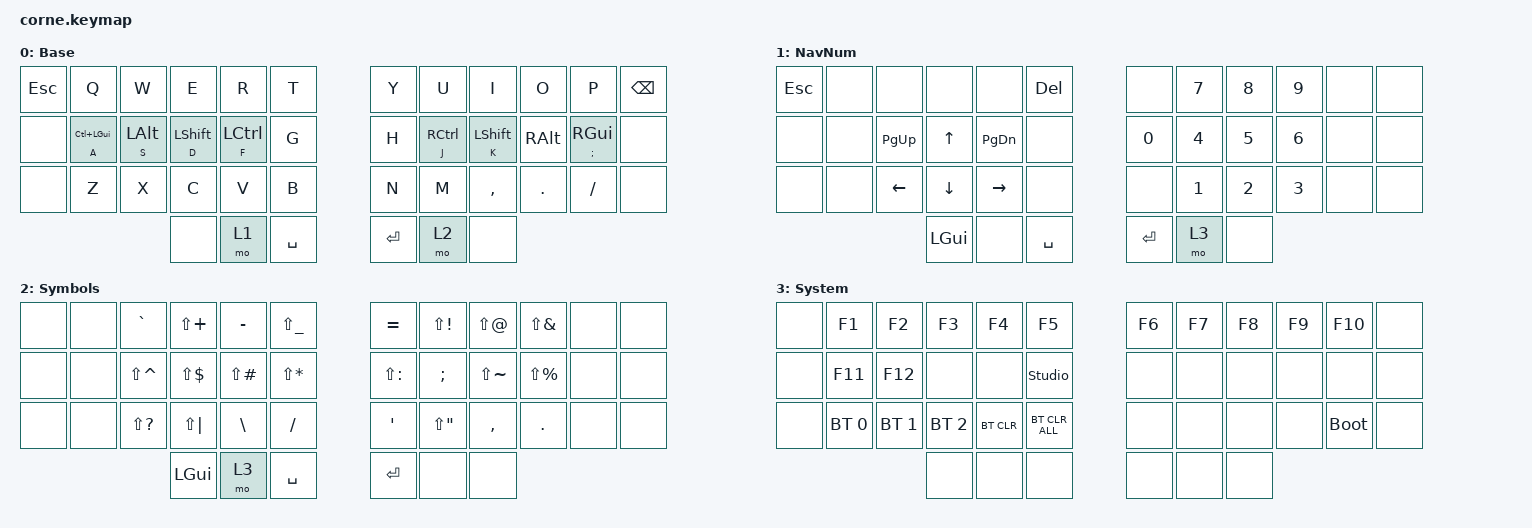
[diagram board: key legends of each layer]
#include <behaviors.dtsi>
#include <dt-bindings/zmk/bt.h>
#include <dt-bindings/zmk/keys.h>

#define DEF 0
#define NAV 1
#define SYM 2
#define ADJ 3
#define EXTRA 4

/ {
    behaviors {
        hm: homerow_mods {
            compatible = "zmk,behavior-hold-tap";
            #binding-cells = <2>;
            tapping-term-ms = <200>;
            flavor = "tap-preferred";
            bindings = <&kp>, <&kp>;

            require-prior-idle-ms = <120>; /* tune to taste */
        };

        para: para {
            compatible = "zmk,behavior-tap-dance";
            #binding-cells = <0>;
            bindings = <&kp LEFT_PARENTHESIS>, <&kp RIGHT_PARENTHESIS>;
        };

        caps: caps {
            compatible = "zmk,behavior-caps-word";
            #binding-cells = <0>;
            continue-list = <MINUS BACKSPACE>;
        };

        paraless: paraless {
            compatible = "zmk,behavior-mod-morph";
            bindings = <&kp LEFT_PARENTHESIS>, <&kp LESS_THAN>;

            #binding-cells = <0>;
            mods = <(MOD_LSFT)>;
        };

        paragreat: paragreat {
            compatible = "zmk,behavior-mod-morph";
            bindings = <&kp RIGHT_PARENTHESIS>, <&kp GREATER_THAN>;

            #binding-cells = <0>;
            mods = <(MOD_LSFT)>;
        };
    };

    macros {
        browsertab: browsertab {
            compatible = "zmk,behavior-macro";
            #binding-cells = <0>;
            bindings =
                <&macro_press>,
                <&kp LCTRL>,
                <&macro_tap>,
                <&kp TAB>,
                <&macro_release>,
                <&kp LCTRL>;
        };
    };

    combos {
        compatible = "zmk,combos";

        lft-brckt {
            bindings = <&kp LEFT_BRACKET>;
            key-positions = <2 3>;
        };

        rgt_brckt {
            bindings = <&kp LC(RIGHT_BRACKET)>;
            key-positions = <3 4>;
        };

        lft_para {
            bindings = <&kp LEFT_PARENTHESIS>;
            key-positions = <15 14>;
        };

        rgt_para {
            bindings = <&kp RIGHT_PARENTHESIS>;
            key-positions = <16 16 15>;
        };

        lft_brace {
            bindings = <&kp LEFT_BRACE>;
            key-positions = <27 26>;
        };

        rgt_brace {
            bindings = <&kp RIGHT_BRACE>;
            key-positions = <28 29>;
        };

        less_than {
            bindings = <&kp LESS_THAN>;
            key-positions = <7 8>;
        };

        greater_than {
            bindings = <&kp GREATER_THAN>;
            key-positions = <8 9>;
        };
    };

    //

    keymap {
        compatible = "zmk,keymap";

        DEF {
            display-name = "Base";

            // -----------------------------------------------------------------------------------------
            // |  Q  |  W  |  E  |  R  |  T  |   |  Y  |  U   |  I  |  O  |  P  |
            // |  A  |  S  |  D  |  F  |  G  |   |  H  |  J   |  K  |  L  |  ;  |
            // |  Z  |  X  |  C  |  V  |  B  |   |  N  |  M   |  ,  |  .  |  /  |
            // | GUI | CTRL | SHFT | LWR | SPC |   | ENT | RSE  | BKSP | ALT | ESC |

            bindings = <
&kp ESC  &kp Q               &kp W           &kp E             &kp R        &kp T        &kp Y    &kp U        &kp I             &kp O          &kp P               &kp BACKSPACE
&none    &hm A LC(LEFT_GUI)  &hm S LEFT_ALT  &hm D LEFT_SHIFT  &hm F LCTRL  &kp G        &kp H    &hm J RCTRL  &hm K LEFT_SHIFT  &kp RIGHT_ALT  &hm SEMI RIGHT_GUI  &none
&none    &kp Z               &kp X           &kp C             &kp V        &kp B        &kp N    &kp M        &kp COMMA         &kp DOT        &kp FSLH            &none
                                             &none             &mo 1        &kp SPACE    &kp RET  &mo 2        &none
            >;
        };

        NAV {
            display-name = "NavNum";

            // -----------------------------------------------------------------------------------------
            // |  TAB |  1  |  2  |  3  |  4  |  5  |   |  6  |  7  |  8  |  9  |  0  | BKSP |
            // | BTCLR| BT1 | BT2 | BT3 | BT4 | BT5 |   | LFT | DWN |  UP | RGT |     |      |
            // | SHFT |     |     |     |     |     |   |     |     |     |     |     |      |
            // | GUI | CTRL | SHFT | LWR | SPC |   | ENT | RSE  | BKSP | ALT | ESC |

            bindings = <
&kp ESCAPE  &none  &none      &none         &none            &kp DELETE    &none    &kp N7  &kp N8  &kp N9  &none  &none
&none       &none  &kp PG_UP  &kp UP_ARROW  &kp PAGE_DOWN    &none         &kp N0   &kp N4  &kp N5  &kp N6  &none  &none
&none       &none  &kp LEFT   &kp DOWN      &kp RIGHT_ARROW  &none         &none    &kp N1  &kp N2  &kp N3  &none  &none
                              &kp LGUI      &none            &kp SPACE     &kp RET  &mo 3   &none
            >;
        };

        SYM {
            display-name = "Symbols";

            // -----------------------------------------------------------------------------------------
            // |  TAB |  !  |  @  |  #  |  $  |  %  |   |  ^  |  &  |  *  |  (  |  )  | BKSP |
            // | CTRL |     |     |     |     |     |   |  -  |  =  |  [  |  ]  |  \  |  `   |
            // | SHFT |     |     |     |     |     |   |  _  |  +  |  {  |  }  | "|" |  ~   |
            //                    | GUI |     | SPC |   | ENT |     | ALT |

            bindings = <
&none  &none  &kp GRAVE      &kp LS(PLUS)  &kp MINUS      &kp LS(UNDER)    &kp EQUAL      &kp LS(EXCL)  &kp LS(AT)     &kp LS(AMPS)   &none  &none
&none  &none  &kp LS(CARET)  &kp LS(DLLR)  &kp LS(POUND)  &kp LS(STAR)     &kp LS(COLON)  &kp SEMI      &kp LS(TILDE)  &kp LS(PRCNT)  &none  &none
&none  &none  &kp LS(QMARK)  &kp LS(PIPE)  &kp BSLH       &kp FSLH         &kp SQT        &kp LS(DQT)   &kp COMMA      &kp DOT        &none  &none
                             &kp LGUI      &mo 3          &kp SPACE        &kp RET        &none         &none
            >;
        };

        ADJ {
            display-name = "System";
            bindings = <
&none  &kp F1        &kp F2        &kp F3        &kp F4      &kp F5            &kp F6  &kp F7  &kp F8  &kp F9  &kp F10      &none
&none  &kp F11       &kp F12       &none         &none       &studio_unlock    &none   &none   &none   &none   &none        &none
&none  &bt BT_SEL 0  &bt BT_SEL 1  &bt BT_SEL 2  &bt BT_CLR  &bt BT_CLR_ALL    &none   &none   &none   &none   &bootloader  &none
                                   &none         &none       &none             &none   &none   &none
            >;
        };
    };
};
